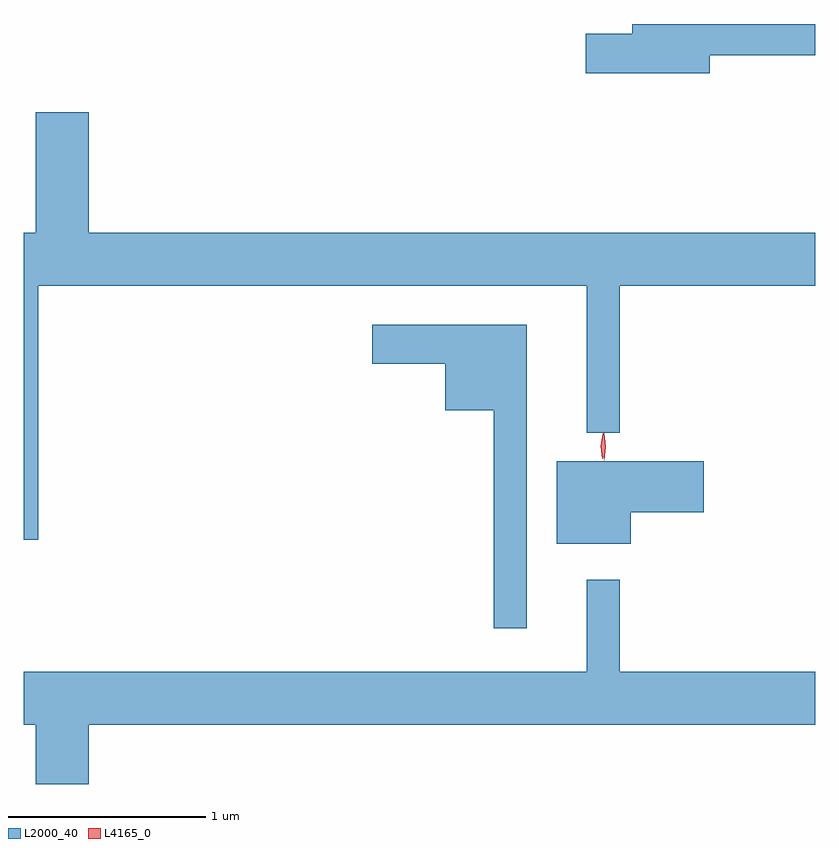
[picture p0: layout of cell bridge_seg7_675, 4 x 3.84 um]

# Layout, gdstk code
import gdstk
lib = gdstk.Library(unit=1e-6, precision=1e-09)
def P(c, l, *ps):  # polygons
    for p in ps: c.add(gdstk.Polygon(p, *l))
L2000_40 = (2000, 40)
L4165_0 = (4165, 0)

bridge_seg7_675 = lib.new_cell('bridge_seg7_675')
P(bridge_seg7_675, L2000_40, [(997.704,1706.601),(998.236,1706.601),(998.236,1706.759),(997.311,1706.759),(997.311,1706.709),(997.076,1706.709),(997.076,1706.511),(997.704,1706.511)],
  [(994.309,1705.436),(997.081,1705.436),(997.081,1704.693),(997.249,1704.693),(997.249,1705.436),(998.236,1705.436),(998.236,1705.704),(994.564,1705.704),(994.564,1706.314),(994.296,1706.314),(994.296,1705.704),(994.236,1705.704),(994.236,1704.151),(994.309,1704.151)],
  [(996.779,1705.239),(995.996,1705.239),(995.996,1705.041),(996.366,1705.041),(996.366,1704.806),(996.611,1704.806),(996.611,1703.703),(996.779,1703.703)],
  [(997.304,1704.291),(997.674,1704.291),(997.674,1704.549),(996.931,1704.549),(996.931,1704.131),(997.304,1704.131)],
  [(994.564,1703.216),(998.236,1703.216),(998.236,1703.484),(997.249,1703.484),(997.249,1703.948),(997.081,1703.948),(997.081,1703.484),(994.236,1703.484),(994.236,1703.216),(994.296,1703.216),(994.296,1702.916),(994.564,1702.916)])
P(bridge_seg7_675, L4165_0, [(997.169,1704.554),(997.159,1704.622),(997.168,1704.69),(997.169,1704.69),(997.169,1704.69),(997.179,1704.622),(997.17,1704.554),(997.17,1704.554)],
  [(997.162,1704.56),(997.161,1704.561),(997.153,1704.624),(997.163,1704.686),(997.164,1704.687),(997.164,1704.686),(997.173,1704.624),(997.162,1704.561)])

lib.write_gds('bridge_seg7_675.gds')
